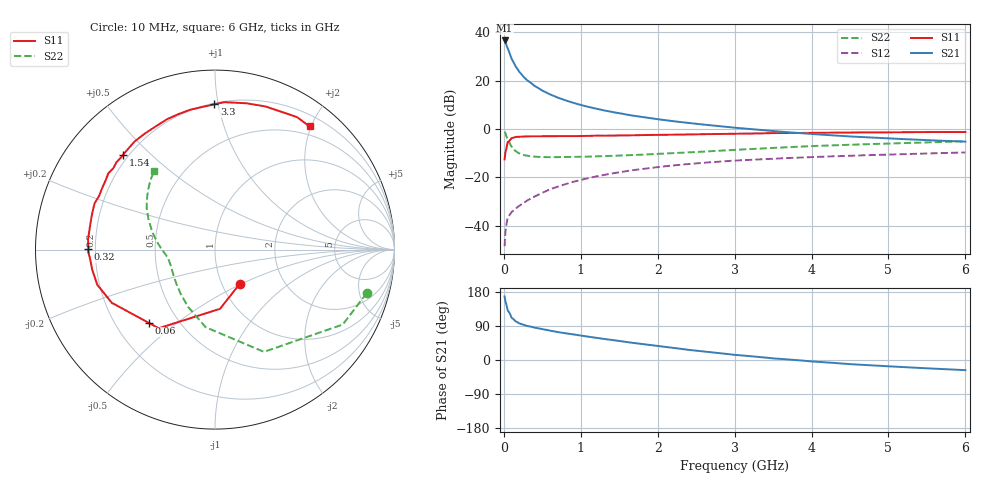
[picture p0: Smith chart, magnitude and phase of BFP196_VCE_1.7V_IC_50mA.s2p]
! Infineon Technologies  Discrete & RF Semiconductors
! BFP196
! VCE = 1.7 V,  IC =  50mA
! Common Emitter S-Parameters:  Jan 2016
# GHz  S  MA  R  50
!  f  S11  S21  S12  S22
! GHz  MAG  ANG  MAG  ANG  MAG  ANG  MAG  ANG
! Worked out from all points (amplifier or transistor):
!   210 points, 10 MHz to 6 GHz, reference 50 ohm
!   highest |S21| = 36.6 dB at 10 MHz (marker M1)
!   |S21| within 3 dB of that: start of sweep to 46.57 MHz
!   unconditionally stable (mu >= 1): 417.5 MHz to 5.051 GHz
!   at 185 MHz: K = 0.74, MSG = 28.3 dB, |S12| = -32.1 dB
!   at 1.52 GHz: K = 1.09, MAG = 10.3 dB, |S12| = -17.8 dB
!   at 6 GHz: K = 0.99, MSG = 2.2 dB, |S12| = -9.7 dB
!   S11 on the Smith chart (normalised r, x): 10 MHz: 1.21, -0.49; 60 MHz: 0.34, -0.40; 320 MHz: 0.17, +0.00; 1.54 GHz: 0.18, +0.41; 3.3 GHz: 0.21, +0.97; 6 GHz: 0.36, +1.97
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0.01  0.2353 -54.0  67.44 167.7  0.0038 79.3  0.8795 -16.0
0.02  0.3312 -85.2  62.67 155.2  0.0075 71.4  0.8252 -30.4
0.05  0.5389 -125.6  46.4 131.0  0.0147 54.6  0.6318 -64.4
0.06  0.5494 -131.8  42.53 128.5  0.0156 53.0  0.5808 -69.0
0.1  0.6467 -152.7  28.47 111.6  0.0192 48.0  0.4355 -96.9
0.15  0.6847 -163.4  19.93 102.4  0.0225 48.9  0.3525 -115.2
0.2  0.693 -170.6  15.26 96.7  0.0258 51.3  0.3133 -127.3
0.24  0.6963 -174.6  12.83 93.7  0.0286 54.1  0.2952 -134.5
0.3  0.7057 -178.9  10.26 90.0  0.033 57.3  0.281 -142.2
0.32  0.7059 179.9  9.756 89.3  0.0345 58.0  0.278 -143.9
0.4  0.7095 175.2  7.759 85.4  0.0403 60.1  0.2686 -151.1
0.5  0.7082 170.6  6.211 81.4  0.048 61.8  0.263 -156.8
0.6  0.7107 166.2  5.188 77.4  0.0567 62.6  0.2618 -160.6
0.8  0.7187 159.0  3.907 70.6  0.0725 62.4  0.2636 -165.9
1.02  0.7167 150.7  3.079 63.9  0.0903 60.9  0.2669 -169.8
1.54  0.7351 134.3  2.065 49.1  0.1308 54.6  0.2848 -176.8
2.02  0.7559 120.6  1.578 36.6  0.1649 47.5  0.3073 176.8
3.1  0.7999 94.0  1.031 12.0  0.2266 31.5  0.3768 161.1
3.3  0.8097 90.2  0.966 8.4  0.2352 28.7  0.3915 158.2
4.1  0.8353 76.3  0.77 -5.0  0.2666 18.8  0.4501 147.7
5.1  0.8556 62.7  0.629 -17.7  0.2999 7.6  0.5065 136.9
6  0.865 52.5  0.549 -26.8  0.3281 -2.4  0.5554 127.5
